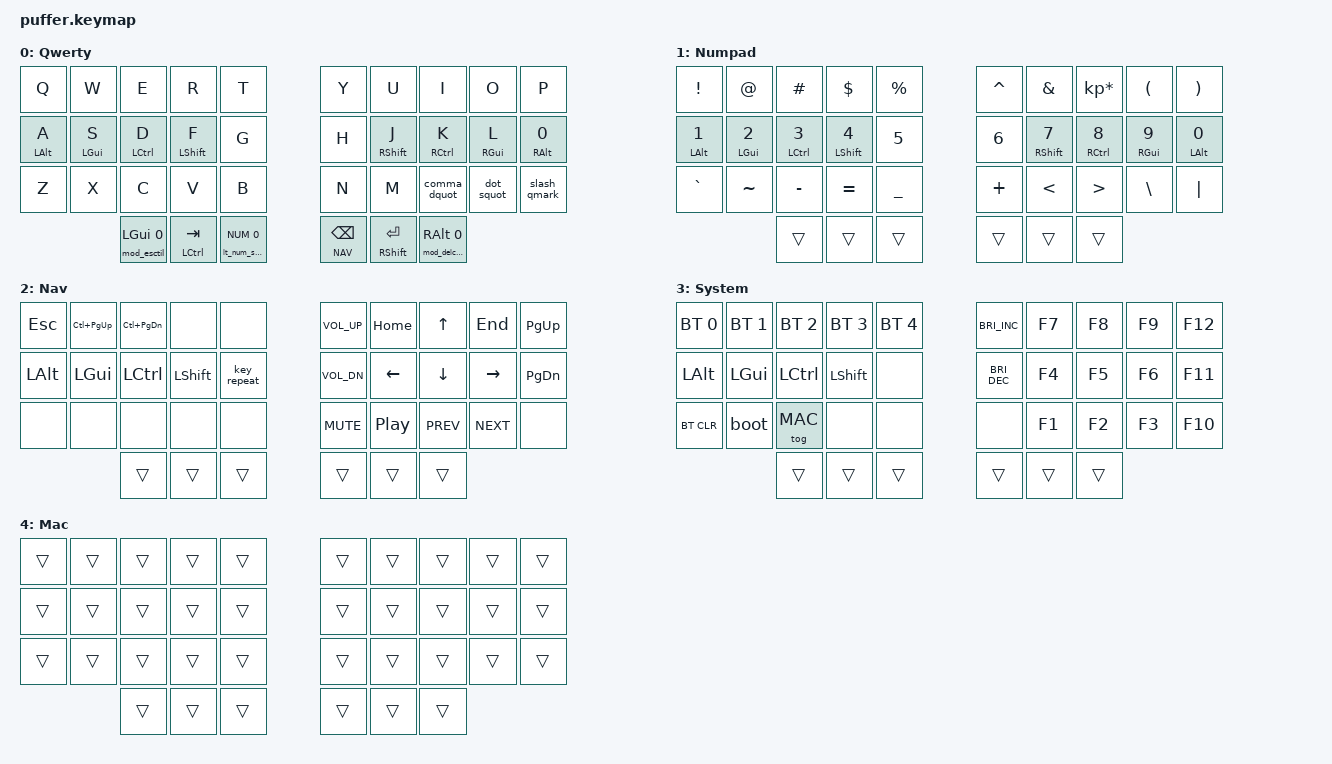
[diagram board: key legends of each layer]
/*
 * https://github.com/zmkfirmware/zmk/blob/main/app/include/dt-bindings/zmk/keys.h
 */

#include "zmk-helpers/helper.h"
#include "zmk-helpers/key-labels/36.h"

#include <behaviors.dtsi>
#include <dt-bindings/zmk/keys.h>
#include <dt-bindings/zmk/bt.h>

#define DEF 0
#define NUM 1
#define NAV 2
#define SYS 3
#define MAC 4  // toggled on top of DEF; only swaps the editing combos Ctrl -> Cmd

#define BASE_LAYERS DEF MAC  // layers where "normal typing" combos are active

#define XXX &none
#define ___ &trans

#define QUICK_TAP_MS 175

#define KEYS_L LT0 LT1 LT2 LT3 LT4 LM0 LM1 LM2 LM3 LM4 LB0 LB1 LB2 LB3 LB4  /* left hand  */
#define KEYS_R RT0 RT1 RT2 RT3 RT4 RM0 RM1 RM2 RM3 RM4 RB0 RB1 RB2 RB3 RB4  /* right hand */
#define THUMBS LH2 LH1 LH0 RH0 RH1 RH2                                      /* thumbs     */

// ---------- SETTINGS ----------

&lt {  // layer-tap config
    flavor = "balanced";
    tapping-term-ms = <200>;
    quick-tap-ms = <QUICK_TAP_MS>;
};

// ----------- COMBOS -----------
#define COMBO_TERM    50
#define COMBO_IDLE_MS 150  // letter-pair combos only fire after a short typing pause

// Own combo macro so we can set require-prior-idle-ms (avoids false triggers while typing fast)
#define MAKE_COMBO(NAME, BINDINGS, KEYPOS, LAYERS, TERM_MS, IDLE_MS) \
    / { \
        combos { \
            compatible = "zmk,combos"; \
            combo_##NAME { \
                bindings = <BINDINGS>; \
                key-positions = <KEYPOS>; \
                layers = <LAYERS>; \
                timeout-ms = <TERM_MS>; \
                require-prior-idle-ms = <IDLE_MS>; \
            }; \
        }; \
    };

// left and right brace { }
MAKE_COMBO(lbrc, &kp LBRC, RT1 RT2, BASE_LAYERS, COMBO_TERM, COMBO_IDLE_MS)
MAKE_COMBO(rbrc, &kp RBRC, RT2 RT3, BASE_LAYERS, COMBO_TERM, COMBO_IDLE_MS)

// left and right parenthesis ( )
MAKE_COMBO(lpar, &kp LPAR, RM1 RM2, BASE_LAYERS, COMBO_TERM, COMBO_IDLE_MS)
MAKE_COMBO(rpar, &kp RPAR, RM2 RM3, BASE_LAYERS, COMBO_TERM, COMBO_IDLE_MS)

// left and right bracket [ ]
MAKE_COMBO(lbkt, &kp LBKT, RB1 RB2, BASE_LAYERS, COMBO_TERM, COMBO_IDLE_MS)
MAKE_COMBO(rbkt, &kp RBKT, RB2 RB3, BASE_LAYERS, COMBO_TERM, COMBO_IDLE_MS)

// less-than and greater-than < >
MAKE_COMBO(lt, &kp LT, LT3 LT2, BASE_LAYERS, COMBO_TERM, COMBO_IDLE_MS)
MAKE_COMBO(gt, &kp GT, LT2 LT1, BASE_LAYERS, COMBO_TERM, COMBO_IDLE_MS)

// underscore and equal
MAKE_COMBO(under, &kp UNDER, LM3 LM2, BASE_LAYERS, COMBO_TERM, COMBO_IDLE_MS)
MAKE_COMBO(equal, &kp EQUAL, LM2 LM1, BASE_LAYERS, COMBO_TERM, COMBO_IDLE_MS)

// minus and plus
MAKE_COMBO(minus, &kp MINUS, LB3 LB2, BASE_LAYERS, COMBO_TERM, COMBO_IDLE_MS)
MAKE_COMBO(plus,  &kp PLUS,  LB2 LB1, BASE_LAYERS, COMBO_TERM, COMBO_IDLE_MS)

// apostrophe on H+J (never typed together in English, so no idle guard needed:
// it must work mid-word, e.g. don't)
MAKE_COMBO(squot, &kp SINGLE_QUOTE, RM0 RM1, BASE_LAYERS, COMBO_TERM, 0)

// caps word on both index-finger home keys (F + J)
MAKE_COMBO(capsword, &caps_word, LM3 RM1, BASE_LAYERS, COMBO_TERM, 0)

// editing combos: Ctrl on Linux (DEF), Cmd on macOS (MAC)
#define MAKE_EDIT_COMBO(NAME, KEY, POS) \
    MAKE_COMBO(NAME, &kp LC(KEY), POS, DEF, COMBO_TERM, 0) \
    MAKE_COMBO(NAME##_mac, &kp LG(KEY), POS, MAC, COMBO_TERM, 0)

MAKE_EDIT_COMBO(copy,  C, LM2 LT2)  // D + E
MAKE_EDIT_COMBO(paste, V, LM1 LT1)  // S + W
MAKE_EDIT_COMBO(cut,   X, LM1 LB1)  // S + X
MAKE_EDIT_COMBO(undo,  Z, LM0 LB0)  // A + Z

// ----------- KEYMAP -----------

// reuse basic mod-morph scheme
#define MAKE_SIMPLE_MORPH(NAME, MOD, BINDING1, BINDING2) \
    ZMK_MOD_MORPH(NAME, \
        mods = <(MOD_L ## MOD|MOD_R ## MOD)>; \
        bindings = <BINDING1>, <BINDING2>; \
    )

// tap: space | shift + tap: tab
MAKE_SIMPLE_MORPH(spc_tab, SFT, &kp SPACE, &kp TAB)

// Hold: layer | Tap: custom behavior (mod-morph)
#define MAKE_LT_MORPH(NAME, TAP_BEHAVIOR) \
    ZMK_HOLD_TAP(NAME, \
        flavor = "balanced"; \
        tapping-term-ms = <200>; \
        quick-tap-ms = <QUICK_TAP_MS>; \
        bindings = <&mo>, <TAP_BEHAVIOR>; \
    )

MAKE_LT_MORPH(lt_num_spctab, &spc_tab)

// tap: semicolon | shift + tap: colon
MAKE_SIMPLE_MORPH(semi_colon, SFT, &kp SEMI, &kp COLON)

// tap: slash | shift + tap: question mark
MAKE_SIMPLE_MORPH(slash_qmark, SFT, &kp SLASH, &kp QMARK)

// tap: comma | shift + tap: double quotes
MAKE_SIMPLE_MORPH(comma_dquot, SFT, &kp COMMA, &kp DOUBLE_QUOTES)

// tap: dot | shift + tap: single quotes
MAKE_SIMPLE_MORPH(dot_squot, SFT, &kp DOT, &kp SINGLE_QUOTE)

// tap: plus | shift + tap: equal
MAKE_SIMPLE_MORPH(plus_equal, SFT, &kp PLUS, &kp EQUAL)

// tap: ESC | shift + tap: tilde
MAKE_SIMPLE_MORPH(esc_tilde, SFT, &kp ESC, &kp TILDE)

// tap: DEL | ctrl + tap: caps word
MAKE_SIMPLE_MORPH(del_caps, CTL, &kp DEL, &caps_word)

// For mod tap
#define MAKE_MOD_TAP(NAME, BINDING1, BINDING2) \
    ZMK_HOLD_TAP(NAME, \
        flavor = "hold-preferred"; \
        tapping-term-ms = <200>; \
        bindings = <BINDING1>, <BINDING2>; \
    )

MAKE_MOD_TAP(mod_esctil, &kp , &esc_tilde)
MAKE_MOD_TAP(mod_delcaps, &kp, &del_caps)

// double-tap to enter bootloader
ZMK_TAP_DANCE(boot,
    bindings = <&none>, <&bootloader>;
)

// Cross-hand only home row mods
#define MAKE_HRM(NAME, HOLD, TAP, TRIGGER_POS) \
    ZMK_HOLD_TAP(NAME, \
        flavor = "balanced"; \
        tapping-term-ms = <280>; \
        quick-tap-ms = <QUICK_TAP_MS>; \
        require-prior-idle-ms = <150>; \
        bindings = <HOLD>, <TAP>; \
        hold-trigger-key-positions = <TRIGGER_POS>; \
        hold-trigger-on-release; \
    )
MAKE_HRM(hml, &kp, &kp, KEYS_R THUMBS)  // left-hand HRMs
MAKE_HRM(hmr, &kp, &kp, KEYS_L THUMBS)  // right-hand HRMs
MAKE_HRM(hmr_sc, &kp, &semi_colon, KEYS_L THUMBS)  

ZMK_CONDITIONAL_LAYER(sys_condition, NUM NAV, SYS)


ZMK_LAYER(Qwerty,
// ╭─────────────┬─────────────┬─────────────┬─────────────┬─────────────╮   ╭─────────────┬─────────────┬─────────────┬─────────────┬─────────────╮
      &kp Q           &kp W         &kp E          &kp R        &kp T             &kp Y         &kp U         &kp I         &kp O         &kp P
// ├─────────────┼─────────────┼─────────────┼─────────────┼─────────────┤   ├─────────────┼─────────────┼─────────────┼─────────────┼─────────────┤
     &hml LALT A   &hml LGUI S  &hml LCTRL D   &hml LSHFT F     &kp G             &kp H     &hmr RSHFT J  &hmr RCTRL K   &hmr RGUI L   &hmr_sc RALT 0
// ├─────────────┼─────────────┼─────────────┼─────────────┼─────────────┤   ├─────────────┼─────────────┼─────────────┼─────────────┼─────────────┤
        &kp Z        &kp X         &kp C         &kp V         &kp B             &kp N         &kp M       &comma_dquot   &dot_squot   &slash_qmark
// ╰─────────────┴─────────────┼─────────────┼─────────────┼─────────────┤   ├─────────────┼─────────────┼─────────────┼─────────────┴─────────────╯
                            &mod_esctil LGUI 0 &mt LCTRL TAB &lt_num_spctab NUM 0      &lt NAV BSPC &mt RSHFT ENTER &mod_delcaps RALT 0
//                             ╰─────────────┴─────────────┴─────────────╯   ╰─────────────┴─────────────┴─────────────╯
)

ZMK_LAYER(Numpad,
// ╭─────────────┬─────────────┬─────────────┬─────────────┬─────────────╮   ╭─────────────┬─────────────┬─────────────┬─────────────┬─────────────╮
        &kp EXCL      &kp AT        &kp HASH     &kp DLLR       &kp PRCNT       &kp CARET      &kp AMPS     &kp KP_MULTIPLY &kp LPAR    &kp RPAR
// ├─────────────┼─────────────┼─────────────┼─────────────┼─────────────┤   ├─────────────┼─────────────┼─────────────┼─────────────┼─────────────┤
    &hml LALT N1  &hml LGUI N2  &hml LCTRL N3 &hml LSHFT N4     &kp N5          &kp N6      &hmr RSHFT N7 &hmr RCTRL N8  &hmr RGUI N9  &hmr LALT N0
// ├─────────────┼─────────────┼─────────────┼─────────────┼─────────────┤   ├─────────────┼─────────────┼─────────────┼─────────────┼─────────────┤
        &kp GRAVE     &kp TILDE   &kp MINUS     &kp EQUAL     &kp UNDER         &kp PLUS       &kp LT         &kp GT     &kp BACKSLASH   &kp PIPE 
// ╰─────────────┴─────────────┼─────────────┼─────────────┼─────────────┤   ├─────────────┼─────────────┼─────────────┼─────────────┴─────────────╯
                                     ___           ___           ___               ___           ___          ___
//                             ╰─────────────┴─────────────┴─────────────╯   ╰─────────────┴─────────────┴─────────────╯
)

ZMK_LAYER(Nav,
// ╭─────────────┬─────────────┬─────────────┬─────────────┬─────────────╮   ╭─────────────┬─────────────┬─────────────┬─────────────┬─────────────╮
       &kp ESC     &kp LC(PG_UP) &kp LC(PG_DN)     XXX          XXX            &kp C_VOL_UP    &kp HOME       &kp UP       &kp END      &kp PG_UP
// ├─────────────┼─────────────┼─────────────┼─────────────┼─────────────┤   ├─────────────┼─────────────┼─────────────┼─────────────┼─────────────┤
      &kp LALT      &kp LGUI      &kp LCTRL     &kp LSHFT  &key_repeat         &kp C_VOL_DN    &kp LEFT       &kp DOWN     &kp RIGHT    &kp PG_DN
// ├─────────────┼─────────────┼─────────────┼─────────────┼─────────────┤   ├─────────────┼─────────────┼─────────────┼─────────────┼─────────────┤
       XXX          XXX             XXX            XXX          XXX            &kp K_MUTE      &kp C_PP      &kp C_PREV    &kp C_NEXT      XXX          
// ╰─────────────┴─────────────┼─────────────┼─────────────┼─────────────┤   ├─────────────┼─────────────┼─────────────┼─────────────┴─────────────╯
                                     ___           ___          ___               ___           ___           ___
//                             ╰─────────────┴─────────────┴─────────────╯   ╰─────────────┴─────────────┴─────────────╯
)

ZMK_LAYER(System,
// ╭─────────────┬─────────────┬─────────────┬─────────────┬─────────────╮   ╭─────────────┬─────────────┬─────────────┬─────────────┬─────────────╮
    &bt BT_SEL 0  &bt BT_SEL 1  &bt BT_SEL 2  &bt BT_SEL 3  &bt BT_SEL 4      &kp C_BRI_INC    &kp F7         &kp F8       &kp F9        &kp F12
// ├─────────────┼─────────────┼─────────────┼─────────────┼─────────────┤   ├─────────────┼─────────────┼─────────────┼─────────────┼─────────────┤
        &kp LALT      &kp LGUI      &kp LCTRL     &kp LSHFT       XXX         &kp C_BRI_DEC    &kp F4         &kp F5       &kp F6        &kp F11
// ├─────────────┼─────────────┼─────────────┼─────────────┼─────────────┤   ├─────────────┼─────────────┼─────────────┼─────────────┼─────────────┤
     &bt BT_CLR       &boot       &tog MAC          XXX           XXX               XXX         &kp F1         &kp F2       &kp F3      &kp F10
// ╰─────────────┴─────────────┼─────────────┼─────────────┼─────────────┤   ├─────────────┼─────────────┼─────────────┼─────────────┴─────────────╯
                                     ___           ___           ___               ___           ___           ___
//                             ╰─────────────┴─────────────┴─────────────╯   ╰─────────────┴─────────────┴─────────────╯
)

// Empty layer: toggled from the System layer. Its only job is to make the
// editing combos send Cmd instead of Ctrl (see MAKE_EDIT_COMBO).
ZMK_LAYER(Mac,
// ╭─────────────┬─────────────┬─────────────┬─────────────┬─────────────╮   ╭─────────────┬─────────────┬─────────────┬─────────────┬─────────────╮
        ___           ___           ___           ___           ___               ___           ___           ___           ___           ___
// ├─────────────┼─────────────┼─────────────┼─────────────┼─────────────┤   ├─────────────┼─────────────┼─────────────┼─────────────┼─────────────┤
        ___           ___           ___           ___           ___               ___           ___           ___           ___           ___
// ├─────────────┼─────────────┼─────────────┼─────────────┼─────────────┤   ├─────────────┼─────────────┼─────────────┼─────────────┼─────────────┤
        ___           ___           ___           ___           ___               ___           ___           ___           ___           ___
// ╰─────────────┴─────────────┼─────────────┼─────────────┼─────────────┤   ├─────────────┼─────────────┼─────────────┼─────────────┴─────────────╯
                                     ___           ___           ___               ___           ___           ___
//                             ╰─────────────┴─────────────┴─────────────╯   ╰─────────────┴─────────────┴─────────────╯
)

// ╭─────────────┬─────────────┬─────────────┬─────────────┬─────────────╮   ╭─────────────┬─────────────┬─────────────┬─────────────┬─────────────╮
//       XXX           XXX           XXX           XXX           XXX               XXX           XXX           XXX           XXX           XXX
// ├─────────────┼─────────────┼─────────────┼─────────────┼─────────────┤   ├─────────────┼─────────────┼─────────────┼─────────────┼─────────────┤
//       XXX           XXX           XXX           XXX           XXX               XXX           XXX           XXX           XXX           XXX
// ├─────────────┼─────────────┼─────────────┼─────────────┼─────────────┤   ├─────────────┼─────────────┼─────────────┼─────────────┼─────────────┤
//       XXX           XXX           XXX           XXX           XXX               XXX           XXX           XXX           XXX           XXX
// ╰─────────────┴─────────────┼─────────────┼─────────────┼─────────────┤   ├─────────────┼─────────────┼─────────────┼─────────────┴─────────────╯
//                                   XXX           XXX           XXX               XXX           XXX           XXX
//                             ╰─────────────┴─────────────┴─────────────╯   ╰─────────────┴─────────────┴─────────────╯

// vim: filetype=c
